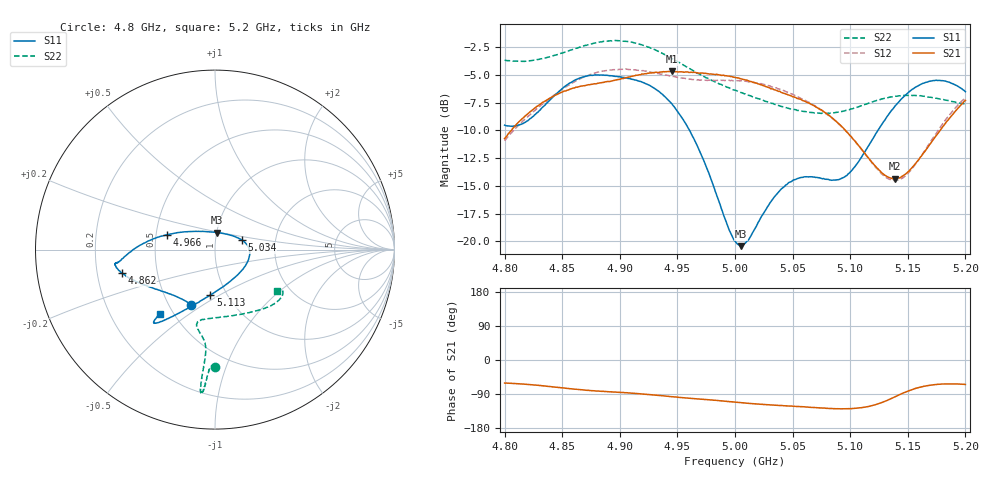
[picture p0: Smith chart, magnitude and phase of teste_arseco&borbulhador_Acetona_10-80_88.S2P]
! Network Analyzer HP8722D
! Hewlett-Packard
! Data name: Linha & Wilkinson
! Saver's name: Rodrigo Anjos
! Comments: Teste da utilização de aquisição
! continua pelo VNA HP8722D
! Time and date: 17/4/2025 15:05
!  Frequency  S11  S21  S12  S22
# HZ  S  MA R 50
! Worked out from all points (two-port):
!   401 points, 4.8 GHz to 5.2 GHz, reference 50 ohm
!   highest |S21| = -4.67 dB at 4.945 GHz (marker M1); lowest = -14.4 dB at 5.139 GHz (marker M2)
!   |S21| within 3 dB of the highest: 4.83 GHz to 5.067 GHz (236.4 MHz wide, 4.78 % of centre); 5.196384 GHz to end of sweep
!   lowest |S11| = -20.4 dB at 5.005 GHz (marker M3), VSWR 1.21, Z = 50.3 + j9.57 ohm
!   |S11| at or under -10 dB: 4.961 GHz to 5.124 GHz (163.5 MHz wide, 3.24 % of centre)
!   |S22| runs from -8.5 to -1.9 dB; largest |S21 - S12| = 0.88
!   S11 on the Smith chart (normalised r, x): 4.8 GHz: 0.64, -0.44; 4.862 GHz: 0.31, -0.11; 4.966 GHz: 0.57, +0.10; 5.034 GHz: 1.34, +0.15; 5.113 GHz: 0.84, -0.45; 5.2 GHz: 0.42, -0.39
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4.8e9  0.3338 -113.6  0.2904 -60.9  0.2841 -175.2  0.6564 -90.1
4.819e9  0.3476 -133.5  0.3715 -64.3  0.3603 -173.8  0.6504 -91.7
4.862e9  0.5365 -166.0  0.4959 -77.1  0.5292 -177.0  0.7422 -93.8
4.867e9  0.5489 -167.8  0.5013 -78.6  0.5453 -178.1  0.7552 -94.1
4.898e9  0.5534 -172.3  0.5363 -85.0  0.5944 175.8  0.8034 -95.4
4.934e9  0.4742 -178.3  0.5778 -93.7  0.5707 171.6  0.7156 -95.9
4.945e9  0.4182 176.6  0.5839 -96.7  0.5567 171.8  0.6681 -95.6
4.966e9  0.2784 162.5  0.5763 -102.2  0.5355 173.7  0.5792 -95.2
5e9  0.1002 100.8  0.5482 -111.3  0.5316 176.1  0.4799 -99.3
5.005e9  0.09502 83.0  0.5413 -112.5  0.5294 175.9  0.4689 -100.4
5.012e9  0.1019 59.9  0.529 -114.4  0.5232 175.8  0.4549 -101.9
5.034e9  0.1581 19.9  0.4824 -119.4  0.4958 174.9  0.4154 -103.5
5.049e9  0.1859 4.8  0.4522 -121.7  0.462 174.1  0.3949 -99.9
5.067e9  0.1953 -14.5  0.4132 -125.0  0.4148 173.7  0.3805 -90.7
5.093e9  0.1927 -58.6  0.3278 -128.8  0.3262 174.1  0.3851 -70.5
5.113e9  0.2546 -95.8  0.2478 -124.3  0.248 -179.8  0.4147 -54.9
5.134e9  0.3764 -116.8  0.1937 -103.9  0.1904 -156.8  0.4465 -43.0
5.139e9  0.4077 -119.8  0.1913 -97.0  0.1883 -148.9  0.4512 -40.8
5.152e9  0.4763 -125.0  0.2104 -79.9  0.2071 -129.2  0.4551 -36.1
5.17e9  0.5281 -129.1  0.2771 -66.2  0.2825 -112.4  0.4462 -32.0
5.184e9  0.5247 -130.4  0.3482 -63.1  0.3598 -107.4  0.4325 -31.0
5.2e9  0.473 -130.7  0.432 -64.6  0.4442 -106.6  0.4153 -33.4
